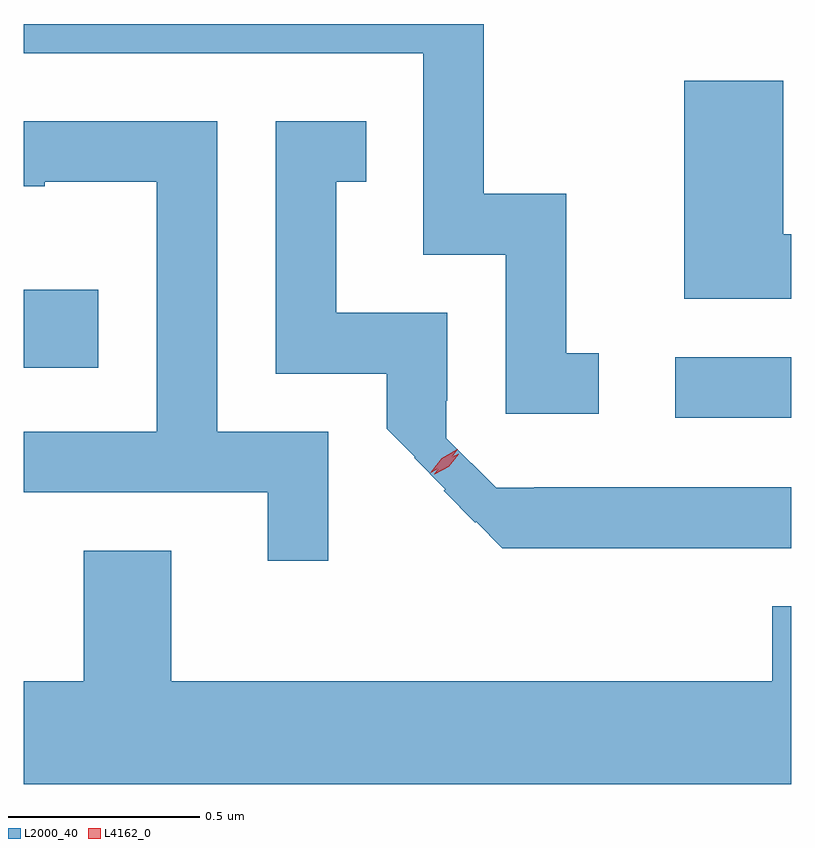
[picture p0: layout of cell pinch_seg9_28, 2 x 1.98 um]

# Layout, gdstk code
import gdstk
lib = gdstk.Library(unit=1e-6, precision=1e-09)
def R(c, l, rs):  # rectangles x0, y0, x1, y1
    for r in rs: c.add(gdstk.rectangle(r[:2], r[2:], *l))
def P(c, l, *ps):  # polygons
    for p in ps: c.add(gdstk.Polygon(p, *l))
L2000_40 = (2000, 40)
L4162_0 = (4162, 0)

pinch_seg9_28 = lib.new_cell('pinch_seg9_28')
R(pinch_seg9_28, L2000_40, [(853.863,1981.671,854.165,1981.829), (852.165,1981.801,852.359,1982.004)])
P(pinch_seg9_28, L2000_40, [(853.663,1981.839),(853.579,1981.839),(853.579,1982.254),(853.364,1982.254),(853.364,1982.697),(852.165,1982.697),(852.165,1982.621),(853.206,1982.621),(853.206,1982.096),(853.421,1982.096),(853.421,1981.681),(853.663,1981.681)],
  [(854.165,1982.149),(854.144,1982.149),(854.144,1982.549),(853.886,1982.549),(853.886,1981.981),(854.165,1981.981)],
  [(854.165,1981.489),(853.495,1981.489),(853.495,1981.488),(853.396,1981.488),(853.266,1981.617),(853.266,1981.715),(853.269,1981.715),(853.269,1981.944),(852.979,1981.944),(852.979,1982.286),(853.058,1982.286),(853.058,1982.444),(852.821,1982.444),(852.821,1981.786),(853.111,1981.786),(853.111,1981.642),(853.184,1981.569),(853.182,1981.566),(853.264,1981.484),(853.26,1981.48),(853.342,1981.397),(853.344,1981.399),(853.412,1981.331),(854.165,1981.331)],
  [(852.959,1981.634),(852.669,1981.634),(852.669,1982.444),(852.165,1982.444),(852.165,1982.274),(852.219,1982.274),(852.219,1982.286),(852.511,1982.286),(852.511,1981.634),(852.165,1981.634),(852.165,1981.476),(852.801,1981.476),(852.801,1981.298),(852.959,1981.298)],
  [(854.165,1981.179),(854.116,1981.179),(854.116,1980.984),(852.549,1980.984),(852.549,1981.324),(852.321,1981.324),(852.321,1980.984),(852.165,1980.984),(852.165,1980.716),(854.165,1980.716)])
P(pinch_seg9_28, L4162_0, [(853.225,1981.527),(853.225,1981.528),(853.254,1981.565),(853.295,1981.589),(853.296,1981.589),(853.296,1981.588),(853.267,1981.551),(853.226,1981.527)],
  [(853.235,1981.523),(853.235,1981.524),(853.26,1981.558),(853.298,1981.577),(853.299,1981.577),(853.299,1981.576),(853.273,1981.543),(853.236,1981.523)])

lib.write_gds('pinch_seg9_28.gds')
